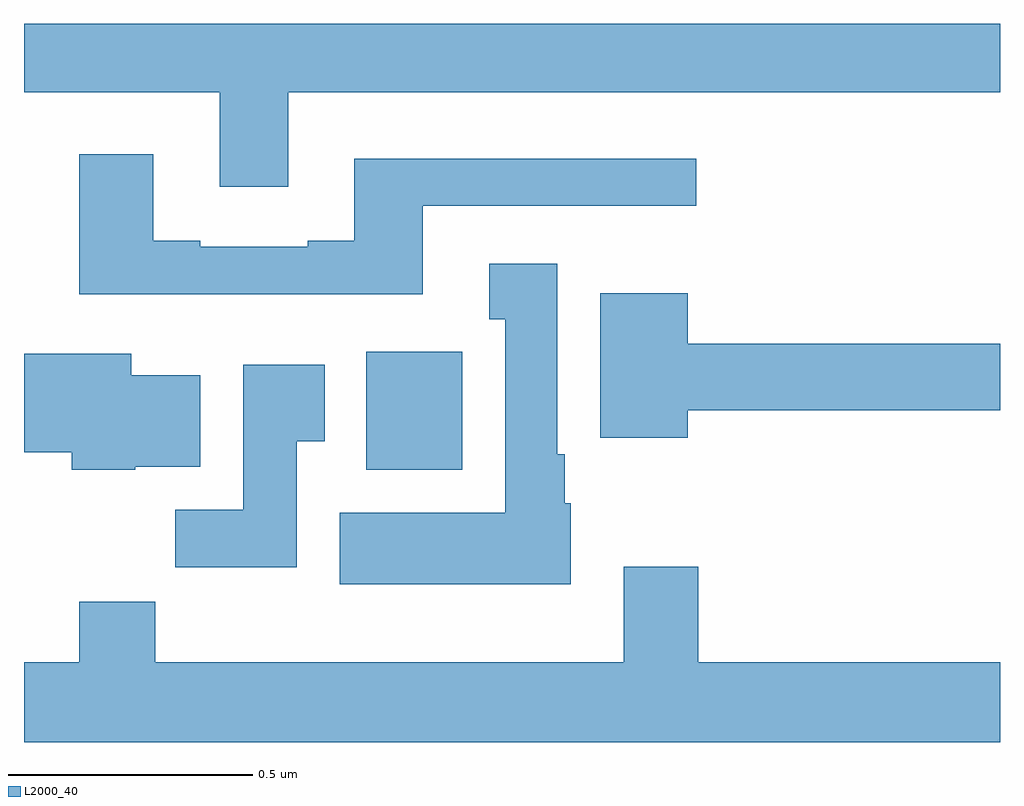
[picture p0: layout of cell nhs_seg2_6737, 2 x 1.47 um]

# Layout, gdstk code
import gdstk
lib = gdstk.Library(unit=1e-6, precision=1e-09)
def R(c, l, rs):  # rectangles x0, y0, x1, y1
    for r in rs: c.add(gdstk.rectangle(r[:2], r[2:], *l))
def P(c, l, *ps):  # polygons
    for p in ps: c.add(gdstk.Polygon(p, *l))
L2000_40 = (2000, 40)

nhs_seg2_6737 = lib.new_cell('nhs_seg2_6737')
R(nhs_seg2_6737, L2000_40, [(195.701,622.886,195.898,623.128)])
P(nhs_seg2_6737, L2000_40, [(195.541,623.66),(197,623.66),(197,623.8),(195,623.8),(195,623.66),(195.401,623.66),(195.401,623.466),(195.541,623.466)],
  [(195.817,623.427),(196.378,623.427),(196.378,623.524),(195.677,623.524),(195.677,623.356),(195.581,623.356),(195.581,623.343),(195.361,623.343),(195.361,623.356),(195.265,623.356),(195.265,623.533),(195.113,623.533),(195.113,623.246),(195.817,623.246)],
  [(196.12,622.818),(196.108,622.818),(196.108,622.918),(196.093,622.918),(196.093,623.308),(195.953,623.308),(195.953,623.195),(195.986,623.195),(195.986,622.798),(195.647,622.798),(195.647,622.652),(196.12,622.652)],
  [(196.36,623.008),(197,623.008),(197,623.144),(196.36,623.144),(196.36,623.248),(196.181,623.248),(196.181,622.952),(196.36,622.952)],
  [(195.228,622.892),(195.361,622.892),(195.361,623.08),(195.22,623.08),(195.22,623.124),(195,623.124),(195,622.922),(195.098,622.922),(195.098,622.886),(195.228,622.886)],
  [(195.559,622.945),(195.616,622.945),(195.616,623.101),(195.449,623.101),(195.449,622.804),(195.31,622.804),(195.31,622.686),(195.559,622.686)],
  [(197,622.492),(196.382,622.492),(196.382,622.687),(196.229,622.687),(196.229,622.492),(195.269,622.492),(195.269,622.616),(195.113,622.616),(195.113,622.492),(195,622.492),(195,622.328),(197,622.328)])

lib.write_gds('nhs_seg2_6737.gds')
